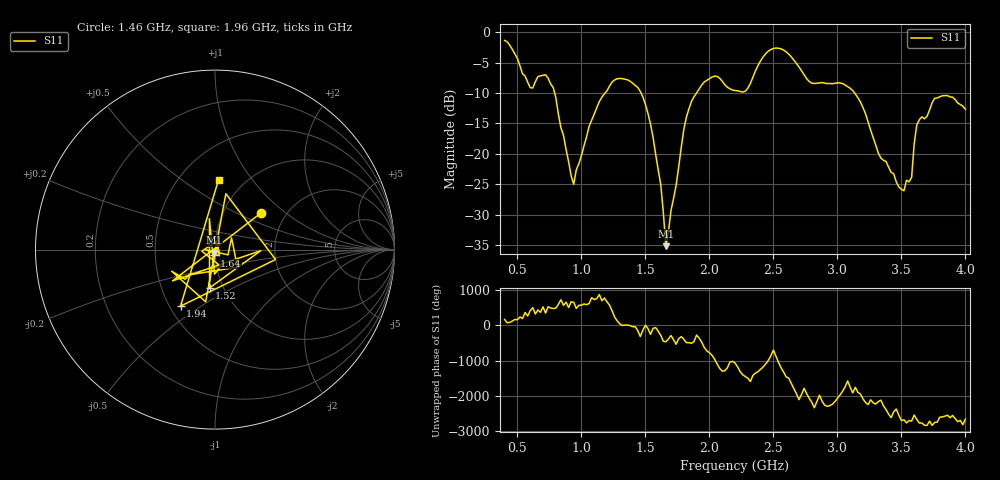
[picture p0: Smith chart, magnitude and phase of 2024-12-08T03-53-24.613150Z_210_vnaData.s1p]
!Created with skrf (http://scikit-rf.org).
# Hz S RI R 50.0
!freq ReS11 ImS11
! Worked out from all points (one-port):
!   181 points, 400 MHz to 4 GHz, reference 50 ohm
!   lowest |S11| = -35.2 dB at 1.66 GHz (marker M1), VSWR 1.04, Z = 49.3 - j1.6 ohm
!   |S11| at or under -10 dB: 791.2 MHz to 1.185 GHz (393.8 MHz wide, 39.9 % of centre); 1.466 GHz to 1.899 GHz (433 MHz wide, 25.7 % of centre); 3.135 GHz to end of sweep
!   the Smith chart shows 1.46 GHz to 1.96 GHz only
!   S11 on the Smith chart (normalised r, x): 1.46 GHz: 1.50, +0.68; 1.52 GHz: 0.86, -0.39; 1.64 GHz: 0.99, -0.07; 1.94 GHz: 0.57, -0.41; 1.96 GHz: 0.76, +0.70
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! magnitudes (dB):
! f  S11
! 400 MHz  -1.3
! 600 MHz  -9.1
! 740 MHz  -7.6
! 860 MHz  -16.9
! 940 MHz  -25.0
! 1.14 GHz  -11.4
! 1.3 GHz  -7.6
! 1.46 GHz  -9.7
! 1.52 GHz  -13.3
! 1.62 GHz  -25.1
! 1.64 GHz  -29.6
! 1.66 GHz  -35.2
! 1.76 GHz  -22.2
! 1.82 GHz  -14.0
! 1.94 GHz  -8.7
! 1.96 GHz  -8.2
! 2.2 GHz  -9.6
! 2.28 GHz  -9.7
! 2.48 GHz  -2.8
! 2.66 GHz  -4.6
! 2.8 GHz  -8.4
! 3.1 GHz  -9.2
! 3.48 GHz  -25.5
! 3.56 GHz  -24.6
! 3.58 GHz  -23.9
! 3.62 GHz  -15.3
! 3.76 GHz  -10.9
! 4 GHz  -12.7
